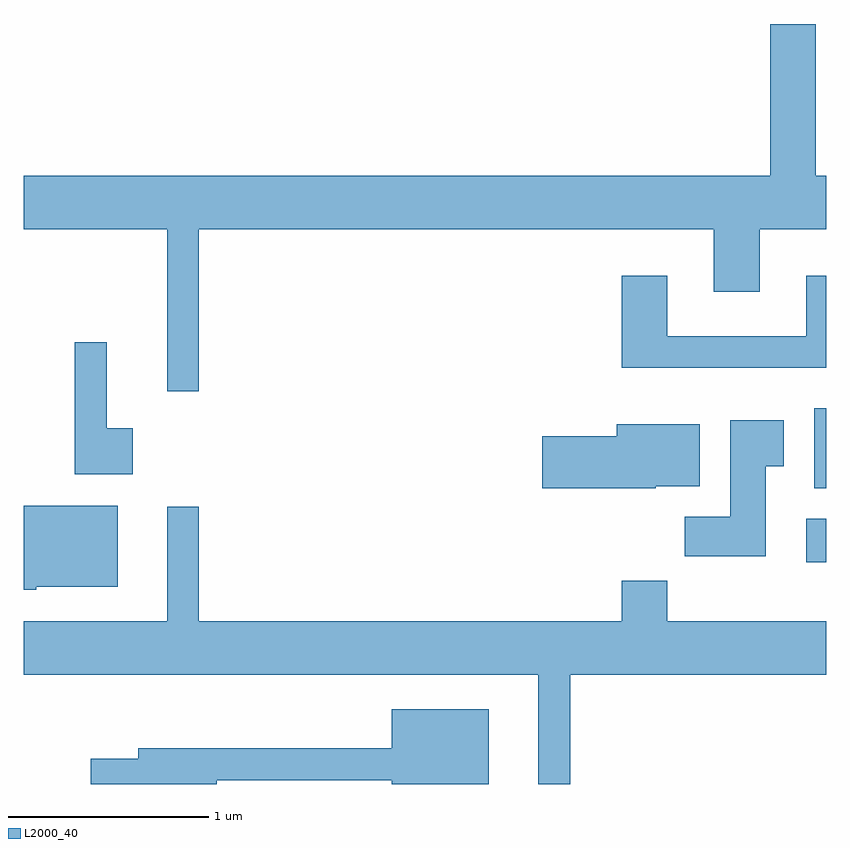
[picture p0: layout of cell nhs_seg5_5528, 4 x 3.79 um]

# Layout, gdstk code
import gdstk
lib = gdstk.Library(unit=1e-6, precision=1e-09)
def R(c, l, rs):  # rectangles x0, y0, x1, y1
    for r in rs: c.add(gdstk.rectangle(r[:2], r[2:], *l))
def P(c, l, *ps):  # polygons
    for p in ps: c.add(gdstk.Polygon(p, *l))
L2000_40 = (2000, 40)

nhs_seg5_5528 = lib.new_cell('nhs_seg5_5528')
R(nhs_seg5_5528, L2000_40, [(353.511,1415.176,353.611,1415.394), (353.551,1415.546,353.611,1415.944)])
P(nhs_seg5_5528, L2000_40, [(350.484,1416.836),(353.051,1416.836),(353.051,1416.526),(353.279,1416.526),(353.279,1416.836),(353.611,1416.836),(353.611,1417.104),(353.559,1417.104),(353.559,1417.859),(353.331,1417.859),(353.331,1417.104),(349.611,1417.104),(349.611,1416.836),(350.326,1416.836),(350.326,1416.028),(350.484,1416.028)],
  [(353.611,1416.604),(353.511,1416.604),(353.511,1416.304),(352.819,1416.304),(352.819,1416.604),(352.591,1416.604),(352.591,1416.146),(353.611,1416.146)],
  [(350.154,1415.844),(350.024,1415.844),(350.024,1416.273),(349.866,1416.273),(349.866,1415.616),(350.154,1415.616)],
  [(353.309,1415.656),(353.399,1415.656),(353.399,1415.884),(353.131,1415.884),(353.131,1415.404),(352.906,1415.404),(352.906,1415.206),(353.309,1415.206)],
  [(352.76,1415.556),(352.979,1415.556),(352.979,1415.864),(352.566,1415.864),(352.566,1415.804),(352.196,1415.804),(352.196,1415.546),(352.76,1415.546)],
  [(349.675,1415.056),(350.079,1415.056),(350.079,1415.459),(349.611,1415.459),(349.611,1415.041),(349.675,1415.041)],
  [(352.334,1414.616),(353.611,1414.616),(353.611,1414.884),(352.819,1414.884),(352.819,1415.084),(352.591,1415.084),(352.591,1414.884),(350.484,1414.884),(350.484,1415.453),(350.326,1415.453),(350.326,1414.884),(349.611,1414.884),(349.611,1414.616),(352.176,1414.616),(352.176,1414.072),(352.334,1414.072)],
  [(350.574,1414.091),(351.446,1414.091),(351.446,1414.072),(351.929,1414.072),(351.929,1414.444),(351.446,1414.444),(351.446,1414.249),(350.181,1414.249),(350.181,1414.199),(349.946,1414.199),(349.946,1414.072),(350.574,1414.072)])

lib.write_gds('nhs_seg5_5528.gds')
